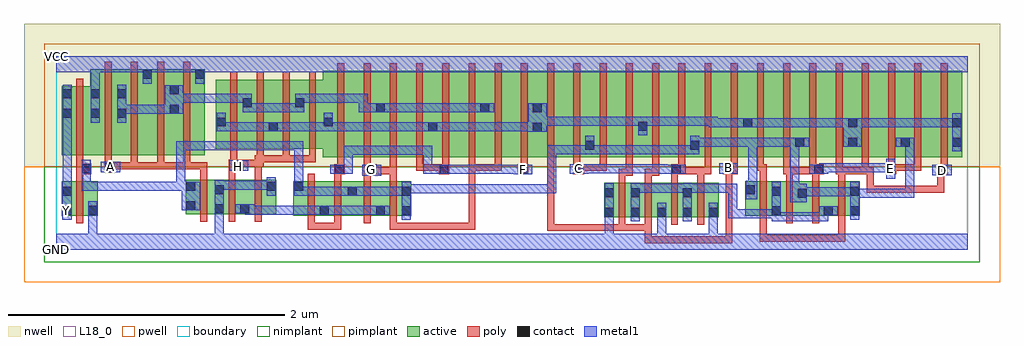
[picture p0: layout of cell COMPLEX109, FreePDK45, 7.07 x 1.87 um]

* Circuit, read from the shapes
.subckt COMPLEX109 A B C D E F G GND H VCC Y
M1 GND n1 Y VSUBS nfet w=0.25u l=0.05u
M2 GND A n1 VSUBS nfet w=0.25u l=0.05u
M3 n2 H GND VSUBS nfet w=0.25u l=0.05u m=2
M4 n2 F n1 VSUBS nfet w=0.25u l=0.05u m=2
M5 n2 G n1 VSUBS nfet w=0.25u l=0.05u m=2
M6 n3 B GND VSUBS nfet w=0.25u l=0.05u m=2
M7 n3 C GND VSUBS nfet w=0.25u l=0.05u m=2
M8 n3 D n1 VSUBS nfet w=0.25u l=0.05u m=2
M9 n1 E n3 VSUBS nfet w=0.25u l=0.05u m=2
M10 VCC n1 Y n4 pfet w=0.5u l=0.05u
M11 n5 A VCC n4 pfet w=0.625u l=0.05u m=4
M12 n5 H n6 n4 pfet w=0.5u l=0.05u m=4
M13 n7 F n6 n4 pfet w=0.625u l=0.05u
M14 n5 G n7 n4 pfet w=0.625u l=0.05u
M15 n8 G n5 n4 pfet w=0.625u l=0.05u
M16 n6 F n8 n4 pfet w=0.625u l=0.05u
M17 n9 F n6 n4 pfet w=0.625u l=0.05u
M18 n5 G n9 n4 pfet w=0.625u l=0.05u
M19 n10 G n5 n4 pfet w=0.625u l=0.05u
M20 n6 F n10 n4 pfet w=0.625u l=0.05u
M21 n11 B n6 n4 pfet w=0.625u l=0.05u
M22 n1 C n11 n4 pfet w=0.625u l=0.05u
M23 n12 C n1 n4 pfet w=0.625u l=0.05u
M24 n6 B n12 n4 pfet w=0.625u l=0.05u
M25 n13 B n6 n4 pfet w=0.625u l=0.05u
M26 n1 C n13 n4 pfet w=0.625u l=0.05u
M27 n14 C n1 n4 pfet w=0.625u l=0.05u
M28 n6 B n14 n4 pfet w=0.625u l=0.05u
M29 n15 D n6 n4 pfet w=0.625u l=0.05u
M30 n1 E n15 n4 pfet w=0.625u l=0.05u
M31 n16 E n1 n4 pfet w=0.625u l=0.05u
M32 n6 D n16 n4 pfet w=0.625u l=0.05u
M33 n17 D n6 n4 pfet w=0.625u l=0.05u
M34 n1 E n17 n4 pfet w=0.625u l=0.05u
M35 n18 E n1 n4 pfet w=0.625u l=0.05u
M36 n6 D n18 n4 pfet w=0.625u l=0.05u
.ends

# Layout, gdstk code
import gdstk
lib = gdstk.Library(unit=1e-6, precision=1e-09)
def R(c, l, rs):  # rectangles x0, y0, x1, y1
    for r in rs: c.add(gdstk.rectangle(r[:2], r[2:], *l))
def A(c, l, x, y, w, h, nx, ny, dx, dy):  # array of equal rectangles
    R(c, l, [(x+i*dx, y+j*dy, x+i*dx+w, y+j*dy+h) for i in range(nx) for j in range(ny)])
active = (1, 0)
pwell = (2, 0)
nwell = (3, 0)
nimplant = (4, 0)
pimplant = (5, 0)
poly = (9, 0)
contact = (10, 0)
metal1 = (11, 0)
L18_0 = (18, 0)
boundary = (235, 0)

complex109 = lib.new_cell('COMPLEX109')
A(complex109, active, 5.175, 0.245, 0.265, 0.25, 3, 1, 0.19, 0)
A(complex109, active, 1.93, 0.67, 0.225, 0.625, 3, 1, 0.38, 0)
A(complex109, active, 4.21, 0.67, 0.075, 0.53, 3, 1, 0.76, 0)
R(complex109, active, [(3.967,0.235,4.042,0.485), (3.967,0.235,4.232,0.485), (4.157,0.235,4.422,0.485), (4.157,0.235,4.232,0.45), (4.347,0.235,4.607,0.485), (4.347,0.235,4.422,0.372), (4.532,0.235,4.797,0.485), (4.532,0.235,4.607,0.467), (4.722,0.235,4.797,0.485), (1.717,0.245,1.977,0.495), (1.902,0.245,2.182,0.495), (2.107,0.245,2.385,0.495), (2.31,0.245,2.57,0.495), (2.495,0.245,2.57,0.495), (4.99,0.245,5.25,0.495), (5.175,0.245,5.25,0.46), (5.555,0.245,5.63,0.372), (5.745,0.245,5.82,0.495), (0.04,0.247,0.115,0.497), (0.04,0.247,0.3,0.497), (0.225,0.247,0.3,0.497), (1.902,0.247,1.977,0.405), (2.31,0.247,2.385,0.372), (0.937,0.257,1.012,0.507), (0.937,0.257,1.217,0.507), (1.142,0.257,1.217,0.472), (1.142,0.257,1.402,0.507), (1.327,0.257,1.592,0.507), (1.327,0.257,1.402,0.342), (1.517,0.297,1.592,0.507), (1.717,0.297,1.792,0.495), (2.107,0.297,2.182,0.46), (4.99,0.297,5.065,0.495), (5.365,0.297,5.44,0.495), (2.155,0.67,2.385,1.295), (2.535,0.67,2.765,1.295), (2.69,0.67,2.765,1.07), (2.915,0.67,3.14,1.295), (3.065,0.67,3.14,1.2), (3.065,0.67,3.295,1.295), (3.295,0.67,3.522,1.295), (3.447,0.67,3.522,1.2), (3.447,0.67,3.675,1.295), (3.675,0.67,3.9,1.295), (3.825,0.67,3.9,1.07), (3.825,0.67,4.055,1.295), (4.055,0.67,4.285,1.295), (4.21,0.67,4.435,1.295), (4.435,0.67,4.66,1.295), (4.585,0.67,4.66,1.07), (4.585,0.67,4.815,1.295), (4.815,0.67,5.045,1.295), (4.97,0.67,5.195,1.295), (5.195,0.67,5.422,1.295), (5.347,0.67,5.422,1.07), (5.347,0.67,5.575,1.295), (5.575,0.67,5.805,1.295), (5.73,0.67,5.955,1.295), (5.955,0.67,6.185,1.295), (6.11,0.67,6.335,1.295), (6.11,0.67,6.185,1.07), (6.335,0.67,6.56,1.295), (6.485,0.67,6.56,1.2), (0.04,0.682,0.32,1.182), (0.04,0.682,0.115,1.165), (0.245,0.682,0.51,1.307), (0.435,0.682,0.51,1.2), (0.435,0.682,0.695,1.307), (0.62,0.682,0.695,1.307), (0.62,0.682,0.89,1.307), (0.815,0.682,0.89,1.2), (0.815,0.682,1.075,1.307), (1,0.682,1.075,1.307), (2.31,0.682,2.385,1.2), (1.155,0.732,1.42,1.232), (1.345,0.732,1.607,1.232), (1.532,0.732,1.8,1.232), (1.532,0.732,1.607,1.07), (1.725,0.732,2.005,1.232), (0.245,0.807,0.32,1.307), (1.155,0.807,1.23,1.047), (1.345,0.807,1.42,1.157), (1.725,0.807,1.8,1.157), (1.93,0.807,2.005,1.07)])
R(complex109, pwell, [(-0.235,-0.235,6.835,0.602)])
R(complex109, nwell, [(-0.235,0.602,6.835,1.635)])
R(complex109, nimplant, [(-0.09,-0.09,6.69,0.602)])
R(complex109, pimplant, [(-0.09,0.602,6.69,1.49)])
A(complex109, poly, 4.072, 0.18, 0.05, 0.36, 4, 1, 0.19, 0)
A(complex109, poly, 5.095, 0.19, 0.05, 0.36, 4, 1, 0.19, 0)
A(complex109, poly, 5.285, 0.5, 0.05, 0.095, 3, 1, 0.19, 0)
A(complex109, poly, 2.605, 0.57, 0.05, 0.095, 5, 1, 0.19, 0)
A(complex109, poly, 6.025, 0.57, 0.05, 0.095, 3, 1, 0.19, 0)
A(complex109, poly, 0.35, 0.582, 0.05, 0.095, 4, 1, 0.19, 0)
A(complex109, poly, 2.035, 0.615, 0.05, 0.735, 24, 1, 0.19, 0)
A(complex109, poly, 0.35, 0.627, 0.05, 0.735, 4, 1, 0.19, 0)
A(complex109, poly, 1.45, 0.632, 0.05, 0.095, 3, 1, 0.19, 0)
A(complex109, poly, 1.26, 0.677, 0.05, 0.61, 4, 1, 0.19, 0)
R(complex109, poly, [(4.262,0.047,4.312,0.097), (4.262,0.047,4.312,0.097), (4.262,0.047,4.555,0.097), (4.262,0.047,4.312,0.185), (4.505,0.047,4.555,0.097), (4.505,0.047,4.555,0.097), (4.505,0.047,4.555,0.097), (4.505,0.047,4.687,0.097), (4.637,0.047,4.687,0.097), (4.637,0.047,4.897,0.097), (4.847,0.047,4.897,0.097), (4.847,0.047,4.897,0.097), (4.847,0.047,4.897,0.097), (4.847,0.047,4.897,0.595), (5.095,0.057,5.145,0.107), (5.095,0.057,5.145,0.107), (5.095,0.057,5.145,0.107), (5.095,0.057,5.145,0.24), (5.095,0.057,5.372,0.107), (5.322,0.057,5.372,0.107), (5.322,0.057,5.372,0.107), (5.322,0.057,5.372,0.107), (5.322,0.057,5.505,0.107), (5.455,0.057,5.505,0.107), (5.455,0.057,5.505,0.107), (5.455,0.057,5.505,0.107), (5.455,0.057,5.715,0.107), (5.665,0.057,5.715,0.107), (5.665,0.057,5.715,0.24), (3.555,0.135,3.605,0.185), (3.555,0.135,3.605,0.185), (3.555,0.135,3.605,0.185), (3.555,0.135,3.605,0.185), (3.555,0.135,3.605,0.185), (3.555,0.135,3.605,0.185), (3.555,0.135,3.605,0.185), (3.555,0.135,3.737,0.185), (3.555,0.135,3.605,0.665), (3.687,0.135,3.737,0.185), (3.687,0.135,3.737,0.185), (3.687,0.135,3.737,0.185), (3.687,0.135,3.737,0.185), (3.687,0.135,3.737,0.185), (3.687,0.135,3.99,0.185), (3.94,0.135,3.99,0.185), (3.94,0.135,3.99,0.185), (3.94,0.135,3.99,0.185), (3.94,0.135,4.122,0.185), (4.072,0.135,4.122,0.23), (4.072,0.135,4.122,0.185), (4.072,0.135,4.122,0.185), (4.072,0.135,4.122,0.185), (4.072,0.135,4.312,0.185), (4.262,0.135,4.312,0.23), (1.822,0.145,1.872,0.24), (1.822,0.145,1.872,0.195), (1.822,0.145,2.062,0.195), (2.012,0.145,2.062,0.24), (2.012,0.145,2.062,0.195), (2.012,0.145,2.062,0.195), (2.012,0.145,2.062,0.195), (2.415,0.145,2.465,0.24), (2.415,0.145,2.465,0.195), (2.415,0.145,2.597,0.195), (2.547,0.145,2.597,0.195), (2.547,0.145,2.597,0.195), (2.547,0.145,2.597,0.195), (2.547,0.145,2.73,0.195), (2.68,0.145,2.73,0.195), (2.68,0.145,2.862,0.195), (2.812,0.145,2.862,0.195), (2.812,0.145,2.862,0.195), (2.812,0.145,2.862,0.195), (2.812,0.145,3.035,0.195), (2.985,0.145,3.035,0.195), (2.985,0.145,3.035,0.195), (2.985,0.145,3.035,0.195), (2.985,0.145,3.035,0.62), (1.822,0.19,1.872,0.55), (2.012,0.19,2.062,0.55), (2.225,0.19,2.275,0.55), (2.415,0.19,2.465,0.55), (0.145,0.192,0.195,0.552), (1.042,0.202,1.092,0.562), (1.247,0.202,1.297,0.562), (1.437,0.202,1.487,0.562), (5.87,0.412,5.92,0.462), (5.87,0.412,5.92,0.462), (5.87,0.412,5.92,0.462), (5.87,0.412,5.92,0.595), (5.87,0.412,6.082,0.462), (6.032,0.412,6.082,0.462), (6.032,0.412,6.215,0.462), (6.165,0.412,6.215,0.462), (6.165,0.412,6.215,0.462), (6.165,0.412,6.215,0.462), (6.165,0.412,6.43,0.462), (6.38,0.412,6.43,0.462), (6.38,0.412,6.43,0.462), (6.38,0.412,6.43,0.462), (6.38,0.412,6.43,0.595), (4.072,0.49,4.122,0.585), (4.262,0.49,4.312,0.585), (4.452,0.49,4.502,0.595), (4.642,0.49,4.692,0.595), (2.012,0.5,2.062,0.595), (2.225,0.5,2.275,0.595), (2.415,0.5,2.465,0.595), (5.095,0.5,5.145,0.62), (0.145,0.502,0.195,0.597), (1.042,0.512,1.092,0.632), (1.247,0.512,1.297,0.627), (1.437,0.512,1.487,0.652), (4.072,0.535,4.175,0.585), (4.125,0.535,4.175,0.665), (4.262,0.535,4.365,0.585), (4.315,0.535,4.365,0.665), (2.012,0.545,2.087,0.62), (2.225,0.545,2.322,0.62), (2.272,0.545,2.322,0.595), (2.272,0.545,2.322,0.595), (2.272,0.545,2.465,0.595), (2.415,0.545,2.465,0.595), (2.415,0.545,2.465,0.665), (2.77,0.545,2.845,0.62), (3.342,0.545,3.417,0.62), (3.745,0.545,3.822,0.62), (4.452,0.545,4.555,0.62), (4.505,0.545,4.555,0.595), (4.505,0.545,4.555,0.595), (4.505,0.545,4.692,0.595), (4.642,0.545,4.745,0.595), (4.695,0.545,4.745,0.665), (4.832,0.545,4.935,0.62), (4.847,0.545,4.897,0.595), (4.847,0.545,4.897,0.595), (4.847,0.545,4.897,0.595), (4.847,0.545,4.897,0.595), (5.265,0.545,5.315,0.665), (5.265,0.545,5.335,0.595), (5.285,0.545,5.335,0.595), (5.285,0.545,5.335,0.595), (5.285,0.545,5.505,0.595), (5.455,0.545,5.56,0.62), (5.645,0.545,5.695,0.665), (5.645,0.545,5.715,0.595), (5.665,0.545,5.787,0.595), (5.737,0.545,5.787,0.595), (5.737,0.545,5.885,0.595), (5.835,0.545,5.885,0.595), (5.835,0.545,5.885,0.595), (5.835,0.545,5.885,0.665), (5.835,0.545,5.92,0.595), (6.007,0.545,6.082,0.62), (6.38,0.545,6.43,0.595), (6.38,0.545,6.43,0.595), (6.38,0.545,6.455,0.62), (0.145,0.547,0.252,0.622), (0.35,0.557,0.425,0.632), (2.035,0.57,2.085,0.665), (2.225,0.57,2.275,0.665), (2.605,0.57,2.655,0.62), (2.605,0.57,2.73,0.62), (2.68,0.57,2.73,0.62), (2.68,0.57,2.82,0.62), (2.985,0.57,3.035,0.62), (2.985,0.57,3.035,0.62), (2.985,0.57,3.035,0.62), (2.985,0.57,3.035,0.62), (2.985,0.57,3.035,0.62), (2.985,0.57,3.225,0.62), (3.175,0.57,3.225,0.62), (3.745,0.57,3.795,0.665), (3.772,0.57,3.822,0.62), (3.772,0.57,3.822,0.62), (3.772,0.57,3.985,0.62), (3.935,0.57,3.985,0.665), (3.935,0.57,3.985,0.62), (4.505,0.57,4.555,0.665), (4.885,0.57,4.935,0.665), (5.075,0.57,5.125,0.665), (5.075,0.57,5.145,0.62), (5.455,0.57,5.505,0.665), (6.032,0.57,6.265,0.62), (6.215,0.57,6.265,0.62), (6.215,0.57,6.265,0.62), (6.215,0.57,6.265,0.62), (0.145,0.572,0.195,0.677), (1.247,0.577,1.355,0.652), (0.375,0.582,0.425,0.632), (0.375,0.582,0.425,0.632), (0.375,0.582,0.59,0.632), (0.54,0.582,0.59,0.632), (0.54,0.582,0.59,0.632), (0.54,0.582,0.59,0.632), (0.54,0.582,0.78,0.632), (0.73,0.582,0.78,0.632), (0.73,0.582,0.78,0.632), (0.73,0.582,0.78,0.632), (0.73,0.582,0.97,0.632), (0.92,0.582,1.092,0.632), (1.26,0.602,1.31,0.727), (1.305,0.602,1.355,0.652), (1.305,0.602,1.355,0.652), (1.305,0.602,1.487,0.652), (1.437,0.602,1.5,0.682), (0.145,0.627,0.195,1.237), (1.45,0.632,1.69,0.682), (1.64,0.632,1.69,0.682), (1.64,0.632,1.69,0.682), (1.64,0.632,1.69,0.682), (1.64,0.632,1.88,0.682), (1.83,0.632,1.88,0.682), (1.83,0.632,1.88,0.682), (1.83,0.632,1.88,0.682)])
A(complex109, contact, 3.972, 0.24, 0.065, 0.065, 3, 1, 0.19, 0)
R(complex109, contact, [(4.537,0.24,4.602,0.305), (4.727,0.24,4.792,0.305), (2.5,0.25,2.565,0.315), (5.18,0.25,5.245,0.315), (5.56,0.25,5.625,0.315), (5.75,0.25,5.815,0.315), (0.045,0.252,0.11,0.317), (0.23,0.252,0.295,0.317), (1.907,0.252,1.972,0.317), (2.315,0.252,2.38,0.317), (1.147,0.262,1.212,0.327), (1.332,0.262,1.397,0.327), (0.942,0.285,1.007,0.35), (5.37,0.377,5.435,0.442), (3.972,0.38,4.037,0.445), (4.162,0.38,4.227,0.445), (4.537,0.38,4.602,0.445), (2.112,0.39,2.177,0.455), (2.5,0.39,2.565,0.455), (5.18,0.39,5.245,0.455), (5.75,0.39,5.815,0.455), (0.045,0.392,0.11,0.457), (4.995,0.4,5.06,0.465), (1.147,0.402,1.212,0.467), (0.942,0.425,1.007,0.49), (1.522,0.425,1.587,0.49), (1.722,0.425,1.787,0.49), (2.017,0.55,2.082,0.615), (2.252,0.55,2.317,0.615), (2.775,0.55,2.84,0.615), (3.347,0.55,3.412,0.615), (3.752,0.55,3.817,0.615), (4.457,0.55,4.522,0.615), (4.837,0.55,4.902,0.615), (5.49,0.55,5.555,0.615), (6.012,0.55,6.077,0.615), (6.385,0.55,6.45,0.615), (0.182,0.552,0.247,0.617), (0.355,0.562,0.42,0.627), (1.285,0.582,1.35,0.647), (3.83,0.725,3.895,0.79), (4.59,0.725,4.655,0.79), (5.352,0.747,5.417,0.812), (5.735,0.747,5.8,0.812), (6.115,0.747,6.18,0.812), (6.49,0.747,6.555,0.812), (3.452,0.855,3.517,0.92), (1.537,0.857,1.602,0.922), (2.695,0.857,2.76,0.922), (4.215,0.862,4.28,0.927), (4.975,0.885,5.04,0.95), (5.735,0.887,5.8,0.952), (6.49,0.887,6.555,0.952), (1.16,0.892,1.225,0.957), (1.935,0.892,2,0.957), (0.045,0.955,0.11,1.02), (0.25,0.955,0.315,1.02), (0.44,0.955,0.505,1.02), (0.82,0.985,0.885,1.05), (2.315,0.995,2.38,1.06), (3.07,0.995,3.135,1.06), (3.452,0.995,3.517,1.06), (1.35,1.03,1.415,1.095), (1.73,1.03,1.795,1.095), (0.045,1.095,0.11,1.16), (0.25,1.095,0.315,1.16), (0.44,1.095,0.505,1.16), (0.82,1.125,0.885,1.19), (0.625,1.237,0.69,1.302), (1.005,1.237,1.07,1.302)])
R(complex109, metal1, [(0,0,6.6,0.115), (0.23,0.05,0.295,0.115), (0.23,0.05,0.295,0.115), (0.23,0.05,0.295,0.282), (1.147,0.05,1.212,0.115), (1.147,0.05,1.212,0.115), (1.147,0.05,1.212,0.292), (3.972,0.05,4.037,0.115), (3.972,0.05,4.037,0.115), (3.972,0.05,4.037,0.115), (3.972,0.05,4.037,0.115), (3.972,0.05,4.037,0.27), (4.352,0.05,4.417,0.27), (4.727,0.05,4.792,0.115), (4.727,0.05,4.792,0.115), (4.727,0.05,4.792,0.115), (4.727,0.05,4.792,0.115), (4.727,0.05,4.792,0.27), (3.972,0.205,4.037,0.48), (4.162,0.205,4.227,0.48), (4.352,0.205,4.417,0.27), (4.352,0.205,4.417,0.27), (4.352,0.205,4.417,0.27), (4.352,0.205,4.417,0.27), (4.352,0.205,4.417,0.34), (4.537,0.205,4.602,0.48), (4.727,0.205,4.792,0.34), (5.18,0.205,5.382,0.27), (5.18,0.205,5.245,0.49), (5.317,0.205,5.382,0.27), (5.317,0.205,5.382,0.27), (5.317,0.205,5.382,0.27), (5.317,0.205,5.59,0.27), (5.525,0.205,5.59,0.315), (2.5,0.215,2.565,0.49), (5.75,0.215,5.815,0.49), (0.042,0.217,0.11,0.492), (0.23,0.217,0.295,0.282), (0.23,0.217,0.295,0.282), (0.23,0.217,0.295,0.352), (1.147,0.227,1.212,0.292), (1.147,0.227,1.212,0.292), (1.147,0.227,1.212,0.502), (4.865,0.227,4.93,0.292), (4.865,0.227,4.93,0.292), (4.865,0.227,4.93,0.292), (4.865,0.227,5.245,0.292), (4.865,0.227,4.93,0.477), (5.18,0.227,5.245,0.292), (5.18,0.227,5.245,0.292), (5.525,0.25,5.59,0.315), (5.525,0.25,5.66,0.315), (1.367,0.252,1.57,0.317), (1.367,0.252,1.432,0.327), (1.505,0.252,1.57,0.317), (1.505,0.252,1.725,0.317), (1.66,0.252,1.725,0.317), (1.66,0.252,1.8,0.317), (1.735,0.252,1.8,0.317), (1.735,0.252,1.862,0.317), (1.797,0.252,1.862,0.317), (1.797,0.252,1.937,0.317), (1.872,0.252,2.007,0.317), (1.942,0.252,2.007,0.317), (1.942,0.252,2.007,0.317), (1.942,0.252,2.207,0.317), (2.142,0.252,2.207,0.317), (2.142,0.252,2.255,0.317), (2.19,0.252,2.255,0.317), (2.19,0.252,2.345,0.317), (2.28,0.252,2.415,0.317), (1.297,0.262,1.432,0.327), (1.367,0.262,1.432,0.327), (0.907,0.285,1.042,0.49), (5.317,0.342,5.435,0.477), (4.995,0.365,5.075,0.5), (5.75,0.377,5.94,0.442), (5.875,0.377,5.94,0.442), (5.875,0.377,5.972,0.442), (5.907,0.377,5.972,0.442), (5.907,0.377,6.077,0.442), (6.012,0.377,6.077,0.442), (6.012,0.377,6.215,0.442), (6.15,0.377,6.215,0.442), (6.15,0.377,6.215,0.812), (5.37,0.387,5.627,0.452), (5.562,0.387,5.627,0.452), (5.562,0.387,5.627,0.452), (5.562,0.387,5.627,0.452), (5.562,0.387,5.802,0.452), (5.737,0.387,5.802,0.452), (5.737,0.387,5.815,0.452), (1.522,0.39,1.587,0.525), (1.722,0.39,1.787,0.525), (1.722,0.39,1.862,0.455), (1.797,0.39,1.862,0.455), (1.797,0.39,2.005,0.455), (1.94,0.39,2.005,0.455), (1.94,0.39,2.005,0.455), (1.94,0.39,2.005,0.455), (1.94,0.39,2.142,0.455), (2.077,0.39,2.212,0.455), (2.147,0.39,2.255,0.455), (2.19,0.39,2.255,0.455), (2.19,0.39,2.415,0.455), (2.35,0.39,2.415,0.455), (2.35,0.39,2.415,0.455), (2.35,0.39,2.415,0.455), (2.35,0.39,2.565,0.455), (2.5,0.41,2.565,0.475), (2.5,0.41,2.565,0.475), (2.5,0.41,2.795,0.475), (2.73,0.41,2.795,0.475), (2.73,0.41,2.932,0.475), (2.867,0.41,2.932,0.475), (2.867,0.41,2.932,0.475), (2.867,0.41,2.932,0.475), (2.867,0.41,3.07,0.475), (3.005,0.41,3.07,0.475), (3.005,0.41,3.207,0.475), (3.142,0.41,3.207,0.475), (3.142,0.41,3.207,0.475), (3.142,0.41,3.207,0.475), (3.142,0.41,3.345,0.475), (3.28,0.41,3.345,0.475), (3.28,0.41,3.345,0.475), (3.28,0.41,3.345,0.475), (3.28,0.41,3.62,0.475), (3.555,0.41,3.62,0.475), (3.555,0.41,3.62,0.475), (3.555,0.41,3.62,0.475), (3.555,0.41,3.62,0.755), (4.162,0.412,4.28,0.477), (4.215,0.412,4.28,0.477), (4.215,0.412,4.417,0.477), (4.352,0.412,4.417,0.477), (4.352,0.412,4.417,0.477), (4.352,0.412,4.417,0.477), (4.352,0.412,4.602,0.477), (4.537,0.412,4.602,0.477), (4.537,0.412,4.602,0.477), (4.537,0.412,4.792,0.477), (4.727,0.412,4.792,0.477), (4.727,0.412,4.93,0.477), (4.865,0.412,4.93,0.477), (5.317,0.412,5.382,0.477), (5.317,0.412,5.382,0.477), (5.317,0.412,5.382,0.812), (0.182,0.425,0.247,0.49), (0.182,0.425,0.437,0.49), (0.182,0.425,0.247,0.582), (0.372,0.425,0.437,0.49), (0.372,0.425,0.437,0.49), (0.372,0.425,0.437,0.49), (0.372,0.425,0.575,0.49), (0.51,0.425,0.575,0.49), (0.51,0.425,0.712,0.49), (0.647,0.425,0.712,0.49), (0.647,0.425,0.712,0.49), (0.647,0.425,0.712,0.49), (0.647,0.425,0.972,0.49), (0.867,0.425,0.932,0.785), (0.867,0.425,0.972,0.49), (0.907,0.425,0.972,0.49), (0.045,0.427,0.11,0.492), (0.045,0.427,0.11,0.492), (0.045,0.427,0.11,0.985), (1.147,0.435,1.212,0.5), (1.147,0.435,1.212,0.5), (1.147,0.435,1.212,0.502), (1.147,0.435,1.43,0.5), (1.365,0.435,1.43,0.5), (1.365,0.435,1.43,0.5), (1.365,0.435,1.43,0.5), (1.365,0.435,1.587,0.5), (5.01,0.435,5.075,0.812), (1.147,0.437,1.212,0.502), (1.722,0.46,1.787,0.525), (1.722,0.46,1.787,0.525), (1.722,0.46,1.787,0.785), (6.012,0.515,6.077,0.66), (0.182,0.517,0.247,0.582), (0.182,0.517,0.247,0.582), (0.182,0.517,0.247,0.652), (2.217,0.537,2.352,0.615), (6.345,0.54,6.485,0.615), (3.312,0.547,3.447,0.615), (1.982,0.55,2.117,0.615), (2.052,0.55,2.145,0.615), (2.08,0.55,2.145,0.615), (2.08,0.55,2.145,0.752), (2.657,0.55,2.722,0.615), (2.657,0.55,2.805,0.615), (2.657,0.55,2.722,0.752), (2.74,0.55,2.875,0.615), (2.81,0.55,2.932,0.615), (2.867,0.55,2.932,0.615), (2.867,0.55,3.07,0.615), (3.005,0.55,3.07,0.615), (3.005,0.55,3.207,0.615), (3.142,0.55,3.207,0.615), (3.142,0.55,3.207,0.615), (3.142,0.55,3.207,0.615), (3.142,0.55,3.345,0.615), (3.28,0.55,3.345,0.615), (3.28,0.55,3.377,0.615), (3.717,0.55,3.852,0.617), (4.365,0.55,4.487,0.615), (4.365,0.55,4.43,0.617), (4.422,0.55,4.557,0.615), (4.802,0.55,4.937,0.627), (5.455,0.55,5.59,0.615), (5.525,0.55,5.59,0.615), (5.525,0.55,5.59,0.627), (3.787,0.552,3.895,0.617), (3.83,0.552,3.895,0.617), (3.83,0.552,4.005,0.617), (3.94,0.552,4.005,0.617), (3.94,0.552,4.09,0.617), (4.025,0.552,4.09,0.617), (4.025,0.552,4.142,0.617), (4.077,0.552,4.142,0.617), (4.077,0.552,4.28,0.617), (4.215,0.552,4.28,0.617), (4.215,0.552,4.28,0.617), (4.215,0.552,4.28,0.617), (4.215,0.552,4.43,0.617), (0.32,0.562,0.462,0.635), (5.525,0.562,5.802,0.627), (5.737,0.562,5.802,0.627), (5.737,0.562,5.802,0.627), (5.737,0.562,5.802,0.627), (5.737,0.562,5.94,0.627), (5.875,0.562,5.94,0.627), (5.875,0.562,5.972,0.627), (5.907,0.562,5.972,0.627), (5.907,0.562,6.077,0.627), (1.25,0.572,1.39,0.647), (2.08,0.687,2.145,0.752), (2.08,0.687,2.255,0.752), (2.19,0.687,2.255,0.752), (2.19,0.687,2.415,0.752), (2.35,0.687,2.415,0.752), (2.35,0.687,2.415,0.752), (2.35,0.687,2.415,0.752), (2.35,0.687,2.585,0.752), (2.52,0.687,2.585,0.752), (2.52,0.687,2.585,0.752), (2.52,0.687,2.585,0.752), (2.52,0.687,2.722,0.752), (2.657,0.687,2.722,0.752), (3.555,0.69,3.62,0.755), (3.555,0.69,3.62,0.755), (3.555,0.69,3.62,0.755), (3.555,0.69,3.757,0.755), (3.692,0.69,3.757,0.755), (3.692,0.69,3.757,0.755), (3.692,0.69,3.757,0.755), (3.692,0.69,3.895,0.755), (3.83,0.69,3.895,0.825), (3.83,0.69,4.005,0.755), (3.94,0.69,4.005,0.755), (3.94,0.69,4.09,0.755), (4.025,0.69,4.09,0.755), (4.025,0.69,4.142,0.755), (4.077,0.69,4.142,0.755), (4.077,0.69,4.28,0.755), (4.215,0.69,4.28,0.755), (4.215,0.69,4.28,0.755), (4.215,0.69,4.28,0.755), (4.215,0.69,4.417,0.755), (4.352,0.69,4.417,0.755), (4.352,0.69,4.417,0.755), (4.352,0.69,4.417,0.755), (4.352,0.69,4.655,0.755), (4.59,0.69,4.655,0.825), (6.49,0.712,6.555,0.987), (0.867,0.72,0.932,0.785), (0.867,0.72,0.932,0.785), (0.867,0.72,0.932,0.785), (0.867,0.72,1.07,0.785), (1.005,0.72,1.07,0.785), (1.005,0.72,1.207,0.785), (1.142,0.72,1.207,0.785), (1.142,0.72,1.207,0.785), (1.142,0.72,1.207,0.785), (1.142,0.72,1.43,0.785), (1.365,0.72,1.43,0.785), (1.365,0.72,1.527,0.785), (1.462,0.72,1.527,0.785), (1.462,0.72,1.65,0.785), (1.585,0.72,1.65,0.785), (1.585,0.72,1.725,0.785), (1.66,0.72,1.725,0.785), (1.66,0.72,1.787,0.785), (1.722,0.72,1.787,0.785), (4.59,0.747,4.655,0.812), (4.59,0.747,4.655,0.812), (4.59,0.747,4.792,0.812), (4.727,0.747,4.792,0.812), (4.727,0.747,4.792,0.812), (4.727,0.747,4.792,0.812), (4.727,0.747,5.075,0.812), (5.01,0.747,5.075,0.812), (5.01,0.747,5.075,0.812), (5.01,0.747,5.075,0.812), (5.01,0.747,5.075,0.812), (5.01,0.747,5.075,0.812), (5.01,0.747,5.245,0.812), (5.18,0.747,5.245,0.812), (5.18,0.747,5.382,0.812), (5.317,0.747,5.382,0.812), (5.317,0.747,5.382,0.812), (5.317,0.747,5.452,0.812), (5.7,0.747,5.835,0.952), (6.08,0.747,6.215,0.812), (6.15,0.747,6.215,0.812), (6.15,0.747,6.215,0.812), (4.215,0.827,4.28,0.962), (3.417,0.855,3.552,1.06), (1.16,0.857,1.225,0.922), (1.16,0.857,1.225,0.922), (1.16,0.857,1.362,0.922), (1.16,0.857,1.225,0.992), (1.297,0.857,1.362,0.922), (1.297,0.857,1.362,0.922), (1.297,0.857,1.362,0.922), (1.297,0.857,1.567,0.922), (1.502,0.857,1.637,0.922), (1.572,0.857,1.725,0.922), (1.66,0.857,1.725,0.922), (1.66,0.857,1.8,0.922), (1.735,0.857,1.8,0.922), (1.735,0.857,1.862,0.922), (1.797,0.857,1.862,0.922), (1.797,0.857,2,0.922), (1.935,0.857,2,0.922), (1.935,0.857,2,0.922), (1.935,0.857,2,0.992), (1.935,0.857,2.207,0.922), (2.142,0.857,2.207,0.922), (2.142,0.857,2.255,0.922), (2.19,0.857,2.255,0.922), (2.19,0.857,2.392,0.922), (2.327,0.857,2.392,0.922), (2.327,0.857,2.392,0.922), (2.327,0.857,2.392,0.922), (2.327,0.857,2.585,0.922), (2.52,0.857,2.585,0.922), (2.52,0.857,2.585,0.922), (2.52,0.857,2.585,0.922), (2.52,0.857,2.725,0.922), (2.66,0.857,2.795,0.922), (2.73,0.857,2.877,0.922), (2.812,0.857,2.877,0.922), (2.812,0.857,2.962,0.922), (2.897,0.857,2.962,0.922), (2.897,0.857,3.07,0.922), (3.005,0.857,3.07,0.922), (3.005,0.857,3.207,0.922), (3.142,0.857,3.207,0.922), (3.142,0.857,3.207,0.922), (3.142,0.857,3.207,0.922), (3.142,0.857,3.345,0.922), (3.28,0.857,3.345,0.922), (3.28,0.857,3.345,0.922), (3.28,0.857,3.345,0.922), (3.28,0.857,3.482,0.922), (4.727,0.885,4.792,0.962), (4.727,0.885,5.005,0.95), (4.94,0.885,5.075,0.95), (5.01,0.885,5.075,0.95), (5.01,0.885,5.075,0.95), (5.01,0.885,5.245,0.95), (5.18,0.885,5.245,0.95), (5.18,0.885,5.382,0.95), (5.317,0.885,5.382,0.95), (5.317,0.885,5.382,0.95), (5.317,0.885,5.382,0.95), (5.317,0.885,5.627,0.95), (5.562,0.885,5.627,0.95), (5.562,0.885,5.627,0.95), (5.562,0.885,5.627,0.95), (5.562,0.885,5.765,0.95), (5.7,0.885,5.765,0.95), (5.7,0.885,5.765,0.95), (5.77,0.885,5.94,0.95), (5.875,0.885,5.94,0.95), (5.875,0.885,5.972,0.95), (5.907,0.885,5.972,0.95), (5.907,0.885,6.135,0.95), (6.07,0.885,6.135,0.95), (6.07,0.885,6.135,0.95), (6.07,0.885,6.135,0.95), (6.07,0.885,6.272,0.95), (6.207,0.885,6.272,0.95), (6.207,0.885,6.272,0.95), (6.207,0.885,6.272,0.95), (6.207,0.885,6.555,0.95), (6.49,0.885,6.555,0.95), (6.49,0.885,6.555,0.95), (3.487,0.897,3.62,0.962), (3.555,0.897,3.62,0.962), (3.555,0.897,3.757,0.962), (3.692,0.897,3.757,0.962), (3.692,0.897,3.757,0.962), (3.692,0.897,3.757,0.962), (3.692,0.897,3.895,0.962), (3.83,0.897,3.895,0.962), (3.83,0.897,3.99,0.962), (3.925,0.897,3.99,0.962), (3.925,0.897,4.09,0.962), (4.025,0.897,4.09,0.962), (4.025,0.897,4.142,0.962), (4.077,0.897,4.142,0.962), (4.077,0.897,4.28,0.962), (4.215,0.897,4.28,0.962), (4.215,0.897,4.28,0.962), (4.215,0.897,4.417,0.962), (4.352,0.897,4.417,0.962), (4.352,0.897,4.417,0.962), (4.352,0.897,4.417,0.962), (4.352,0.897,4.567,0.962), (4.502,0.897,4.567,0.962), (4.502,0.897,4.567,0.962), (4.502,0.897,4.567,0.962), (4.502,0.897,4.792,0.962), (4.727,0.897,4.792,0.962), (4.727,0.897,4.792,0.962), (0.045,0.92,0.11,0.985), (0.045,0.92,0.11,0.985), (0.045,0.92,0.11,1.195), (0.25,0.92,0.315,1.195), (0.44,0.92,0.505,1.195), (0.44,0.985,0.575,1.05), (0.51,0.985,0.575,1.05), (0.51,0.985,0.712,1.05), (0.647,0.985,0.712,1.05), (0.647,0.985,0.712,1.05), (0.647,0.985,0.712,1.05), (0.647,0.985,0.85,1.05), (0.785,0.985,0.92,1.19), (1.35,0.995,1.415,1.06), (1.35,0.995,1.415,1.06), (1.35,0.995,1.415,1.13), (1.35,0.995,1.43,1.06), (1.365,0.995,1.43,1.06), (1.365,0.995,1.65,1.06), (1.585,0.995,1.65,1.06), (1.585,0.995,1.725,1.06), (1.66,0.995,1.725,1.06), (1.66,0.995,1.795,1.06), (1.73,0.995,1.795,1.13), (2.19,0.995,2.255,1.13), (2.19,0.995,2.345,1.06), (2.28,0.995,2.415,1.06), (2.35,0.995,2.415,1.06), (2.35,0.995,2.415,1.06), (2.35,0.995,2.552,1.06), (2.487,0.995,2.552,1.06), (2.487,0.995,2.667,1.06), (2.602,0.995,2.667,1.06), (2.602,0.995,2.795,1.06), (2.73,0.995,2.795,1.06), (2.73,0.995,2.932,1.06), (2.867,0.995,2.932,1.06), (2.867,0.995,2.932,1.06), (2.867,0.995,2.932,1.06), (2.867,0.995,3.07,1.06), (3.005,0.995,3.07,1.06), (3.005,0.995,3.1,1.06), (3.035,0.995,3.17,1.06), (0.855,1.065,0.92,1.13), (0.855,1.065,0.92,1.13), (0.855,1.065,1.07,1.13), (1.005,1.065,1.07,1.13), (1.005,1.065,1.07,1.13), (1.005,1.065,1.07,1.13), (1.005,1.065,1.207,1.13), (1.142,1.065,1.207,1.13), (1.142,1.065,1.415,1.13), (1.73,1.065,1.862,1.13), (1.797,1.065,1.862,1.13), (1.797,1.065,2.005,1.13), (1.94,1.065,2.005,1.13), (1.94,1.065,2.005,1.13), (1.94,1.065,2.005,1.13), (1.94,1.065,2.207,1.13), (2.142,1.065,2.207,1.13), (2.142,1.065,2.255,1.13), (0.25,1.13,0.315,1.35), (0.625,1.202,0.69,1.337), (1.005,1.202,1.07,1.337), (0.625,1.272,0.69,1.35), (1.005,1.272,1.07,1.35), (0,1.285,6.6,1.4)])
R(complex109, L18_0, [(0,0,6.6,0.115), (0.23,0.05,0.295,0.115), (0.23,0.05,0.295,0.115), (0.23,0.05,0.295,0.282), (1.147,0.05,1.212,0.115), (1.147,0.05,1.212,0.115), (1.147,0.05,1.212,0.292), (3.972,0.05,4.037,0.115), (3.972,0.05,4.037,0.115), (3.972,0.05,4.037,0.115), (3.972,0.05,4.037,0.115), (3.972,0.05,4.037,0.27), (4.352,0.05,4.417,0.27), (4.727,0.05,4.792,0.115), (4.727,0.05,4.792,0.115), (4.727,0.05,4.792,0.115), (4.727,0.05,4.792,0.115), (4.727,0.05,4.792,0.27), (3.972,0.205,4.037,0.48), (4.352,0.205,4.417,0.27), (4.352,0.205,4.417,0.27), (4.352,0.205,4.417,0.27), (4.352,0.205,4.417,0.27), (4.352,0.205,4.417,0.34), (4.727,0.205,4.792,0.34), (0.042,0.217,0.11,0.492), (0.23,0.217,0.295,0.282), (0.23,0.217,0.295,0.282), (0.23,0.217,0.295,0.352), (1.147,0.227,1.212,0.292), (1.147,0.227,1.212,0.292), (1.147,0.227,1.212,0.502), (0.042,0.252,0.107,0.317), (1.522,0.39,1.587,0.525), (0.045,0.427,0.11,0.492), (0.045,0.427,0.11,0.492), (0.045,0.427,0.11,0.985), (1.147,0.435,1.212,0.5), (1.147,0.435,1.212,0.5), (1.147,0.435,1.212,0.502), (1.147,0.435,1.43,0.5), (1.365,0.435,1.43,0.5), (1.365,0.435,1.43,0.5), (1.365,0.435,1.43,0.5), (1.365,0.435,1.587,0.5), (1.147,0.437,1.212,0.502), (6.012,0.515,6.077,0.66), (2.217,0.537,2.352,0.615), (6.345,0.54,6.485,0.615), (6.382,0.542,6.447,0.607), (2.252,0.547,2.317,0.612), (3.312,0.547,3.447,0.615), (3.347,0.547,3.412,0.612), (1.982,0.55,2.117,0.615), (2.052,0.55,2.145,0.615), (2.08,0.55,2.145,0.615), (2.08,0.55,2.145,0.752), (2.657,0.55,2.722,0.615), (2.657,0.55,2.722,0.752), (2.657,0.55,2.805,0.615), (2.74,0.55,2.875,0.615), (2.81,0.55,2.932,0.615), (2.867,0.55,2.932,0.615), (2.867,0.55,3.07,0.615), (3.005,0.55,3.07,0.615), (3.005,0.55,3.207,0.615), (3.142,0.55,3.207,0.615), (3.142,0.55,3.207,0.615), (3.142,0.55,3.207,0.615), (3.142,0.55,3.345,0.615), (3.28,0.55,3.345,0.615), (3.28,0.55,3.377,0.615), (3.717,0.55,3.852,0.617), (4.365,0.55,4.43,0.617), (4.365,0.55,4.487,0.615), (4.422,0.55,4.557,0.615), (4.802,0.55,4.937,0.627), (5.455,0.55,5.59,0.615), (5.525,0.55,5.59,0.615), (5.525,0.55,5.59,0.627), (3.752,0.552,3.817,0.617), (3.787,0.552,3.895,0.617), (3.83,0.552,3.895,0.617), (3.83,0.552,4.005,0.617), (3.94,0.552,4.005,0.617), (3.94,0.552,4.09,0.617), (4.025,0.552,4.09,0.617), (4.025,0.552,4.142,0.617), (4.077,0.552,4.142,0.617), (4.077,0.552,4.28,0.617), (4.215,0.552,4.28,0.617), (4.215,0.552,4.28,0.617), (4.215,0.552,4.28,0.617), (4.215,0.552,4.43,0.617), (6.012,0.557,6.077,0.622), (0.32,0.562,0.462,0.635), (4.837,0.562,4.902,0.627), (5.525,0.562,5.802,0.627), (5.737,0.562,5.802,0.627), (5.737,0.562,5.802,0.627), (5.737,0.562,5.802,0.627), (5.737,0.562,5.94,0.627), (5.875,0.562,5.94,0.627), (5.875,0.562,5.972,0.627), (5.907,0.562,5.972,0.627), (5.907,0.562,6.077,0.627), (0.362,0.567,0.427,0.632), (1.25,0.572,1.39,0.647), (1.287,0.572,1.352,0.637), (2.08,0.687,2.145,0.752), (2.08,0.687,2.255,0.752), (2.19,0.687,2.255,0.752), (2.19,0.687,2.415,0.752), (2.35,0.687,2.415,0.752), (2.35,0.687,2.415,0.752), (2.35,0.687,2.415,0.752), (2.35,0.687,2.585,0.752), (2.52,0.687,2.585,0.752), (2.52,0.687,2.585,0.752), (2.52,0.687,2.585,0.752), (2.52,0.687,2.722,0.752), (2.657,0.687,2.722,0.752), (0.045,0.92,0.11,0.985), (0.045,0.92,0.11,0.985), (0.045,0.92,0.11,1.195), (0.25,0.92,0.315,1.195), (0.25,1.13,0.315,1.35), (0.625,1.202,0.69,1.337), (1.005,1.202,1.07,1.337), (0.625,1.272,0.69,1.35), (1.005,1.272,1.07,1.35), (0,1.285,6.6,1.4)])
R(complex109, boundary, [(0,0,6.6,1.4)])
complex109.add(gdstk.Label('A', (0.395,0.6), layer=11, texttype=0))
complex109.add(gdstk.Label('B', (4.87,0.595), layer=11, texttype=0))
complex109.add(gdstk.Label('C', (3.785,0.585), layer=11, texttype=0))
complex109.add(gdstk.Label('D', (6.415,0.575), layer=11, texttype=0))
complex109.add(gdstk.Label('E', (6.045,0.59), layer=11, texttype=0))
complex109.add(gdstk.Label('F', (3.38,0.58), layer=11, texttype=0))
complex109.add(gdstk.Label('G', (2.285,0.58), layer=11, texttype=0))
complex109.add(gdstk.Label('H', (1.32,0.605), layer=11, texttype=0))
complex109.add(gdstk.Label('Y', (0.075,0.285), layer=11, texttype=0))
complex109.add(gdstk.Label('VCC', (0,1.4), layer=11, texttype=0))
complex109.add(gdstk.Label('GND', (0,0), layer=11, texttype=0))

lib.write_gds('COMPLEX109.gds')
